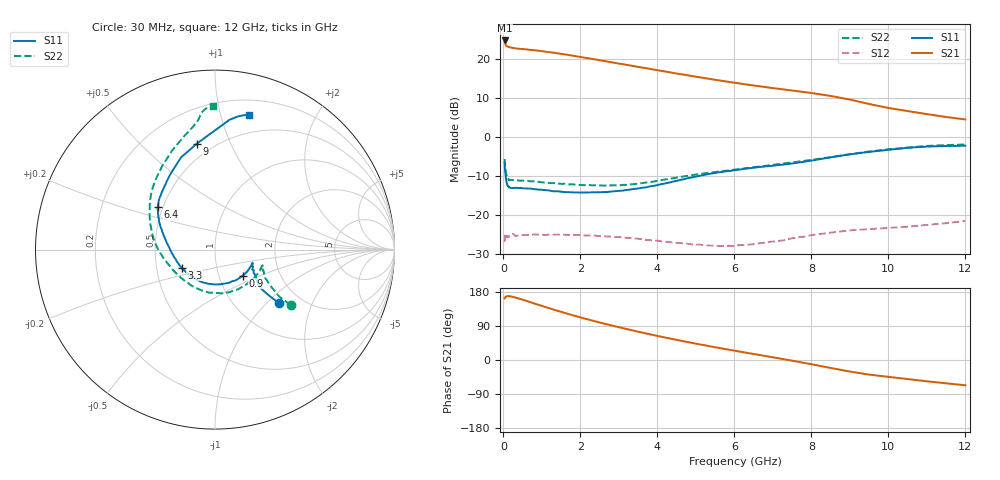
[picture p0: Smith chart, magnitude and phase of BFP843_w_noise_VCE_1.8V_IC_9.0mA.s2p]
! Infineon Technologies  Discrete & RF Semiconductors
! BFP843
! VCE =  1.8 V,  IC =  9.0 mA
! Common Emitter S-Parameters:  Aug 2013
# GHz  S  MA  R  50
!  f  S11  S21  S12  S22
! GHz  MAG  ANG  MAG  ANG  MAG  ANG  MAG  ANG
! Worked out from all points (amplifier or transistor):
!   103 points, 30 MHz to 12 GHz, reference 50 ohm
!   highest |S21| = 24.8 dB at 30 MHz (marker M1)
!   |S21| within 3 dB of that: start of sweep to 1.18 GHz
!   unconditionally stable (mu >= 1): 123.8 MHz to 149.5 MHz; 151.2 MHz to 10.9 GHz
!   at 400 MHz: K = 1.02, MAG = 23.2 dB, |S12| = -25.3 dB
!   at 3.7 GHz: K = 1.34, MAG = 18.6 dB, |S12| = -26.4 dB
!   at 12 GHz: K = 0.83, MSG = 13.0 dB, |S12| = -21.6 dB
!   lowest NFmin = 0.91 dB at 450 MHz
!   S11 on the Smith chart (normalised r, x): 30 MHz: 1.56, -1.19; 900 MHz: 1.30, -0.39; 3.3 GHz: 0.67, -0.14; 6.4 GHz: 0.47, +0.26; 9 GHz: 0.41, +0.76; 12 GHz: 0.33, +1.23
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0.03  0.4663 -40.0  17.39 162.8  0.0449 31.6  0.5219 -36.2
0.04  0.3868 -40.4  16.29 163.8  0.0502 24.9  0.4436 -36.2
0.05  0.3418 -40.3  15.68 166.2  0.0571 22.1  0.397 -34.4
0.07  0.2789 -34.8  14.89 167.6  0.0532 13.0  0.3346 -30.5
0.13  0.2328 -24.4  14.39 168.9  0.0518 11.8  0.2826 -22.1
0.3  0.2222 -20.1  13.81 165.1  0.0538 3.7  0.2786 -19.2
0.9  0.2114 -43.2  12.84 145.9  0.0558 -2.3  0.2658 -41.7
1.3  0.2002 -61.7  12.11 133.1  0.0556 -3.7  0.2561 -59.3
1.5  0.1981 -71.4  11.7 127.1  0.0557 -5.7  0.2504 -68.1
1.8  0.1944 -85.9  11.08 118.1  0.0554 -7.0  0.2471 -81.0
2.1  0.1937 -100.1  10.46 109.6  0.0542 -8.6  0.2404 -93.8
2.7  0.1963 -127.2  9.312 93.9  0.0526 -11.9  0.2383 -117.8
3.3  0.2116 -151.7  8.289 79.3  0.0506 -14.0  0.2463 -140.5
4.1  0.2476 -178.8  7.077 61.4  0.0456 -15.6  0.279 -165.7
5  0.3104 161.3  5.955 43.1  0.0412 -12.7  0.3296 175.6
6.1  0.3803 146.8  4.903 22.9  0.0407 -3.2  0.386 158.7
6.4  0.3974 143.3  4.667 17.5  0.0416 -0.1  0.4034 154.4
7.6  0.4649 125.4  3.898 -3.6  0.0506 5.2  0.4782 137.4
8.5  0.5481 110.1  3.371 -21.0  0.059 3.0  0.5508 122.3
9  0.599 99.7  3.026 -30.5  0.0632 0.0  0.6013 113.4
10.5  0.7273 83.7  2.154 -50.3  0.0705 -5.5  0.7309 97.2
12  0.7725 76.0  1.681 -66.7  0.0833 -12.6  0.8014 90.9
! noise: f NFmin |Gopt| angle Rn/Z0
0.45  0.91  0.08  6  0.01
0.9  0.92  0.08  17  0.04
1.5  0.94  0.08  27  0.09
1.9  0.97  0.07  36  0.17
2.4  1  0.06  47  0.24
3.5  1.06  0.03  59  0.28
5.5  1.2  0.15  -131  0.32
10  1.84  0.5  -68  0.42
